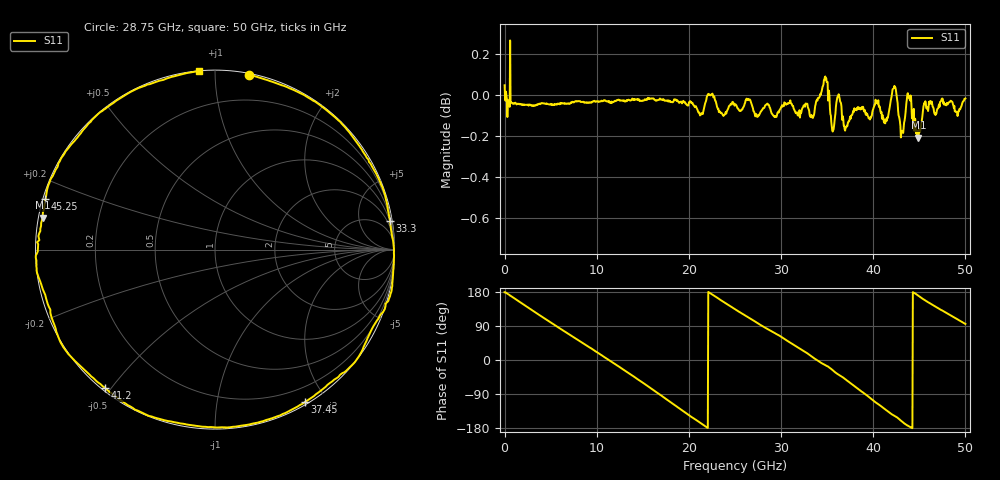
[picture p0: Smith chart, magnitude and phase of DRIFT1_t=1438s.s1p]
!Created with skrf (http://scikit-rf.org).
# Hz S RI R 50.0
!freq ReS11 ImS11
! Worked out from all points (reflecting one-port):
!   1001 points, 300 kHz to 50 GHz, reference 50 ohm
!   lowest |S11| = -0.2 dB at 44.9 GHz (marker M1), VSWR 83.15, Z = 0.606 + j4.57 ohm
!   phase of S11 starts at 179 deg and turns -804 deg over the sweep
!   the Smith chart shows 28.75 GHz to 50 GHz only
!   S11 on the Smith chart (normalised r, x): 28.75 GHz: 0.01, +1.22; 33.3 GHz: 1, +12; 37.45 GHz: 0.03, -1.75; 41.2 GHz: 0.01, -0.48; 45.25 GHz: 0.01, +0.15; 50 GHz: 0.00, +0.91
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300000  -1.005 0.0211
1.70029e9  -0.8802 0.4637
3.550279e9  -0.529 0.8418
6.250262e9  0.1833 0.9782
7.900253e9  0.5903 0.8026
9.750242e9  0.9039 0.4197
1.250022e10  0.9424 -0.3246
1.400022e10  0.7267 -0.6831
1.58502e10  0.2729 -0.9598
1.72502e10  -0.1412 -0.9874
1.875019e10  -0.5543 -0.8285
2.025018e10  -0.8607 -0.5012
2.195017e10  -0.9983 -0.0385
2.500015e10  -0.6922 0.7141
2.675014e10  -0.3067 0.9471
2.875013e10  0.1915 0.9743
3.125011e10  0.7399 0.6633
3.33001e10  0.9758 0.1592
3.505009e10  0.9654 -0.2867
3.745008e10  0.5002 -0.8506
3.750008e10  0.4871 -0.8594
3.930006e10  -0.0536 -0.9873
4.120005e10  -0.6131 -0.7701
4.375004e10  -0.994 -0.1166
4.490003e10  -0.96 0.1771
4.525003e10  -0.9444 0.2805
4.740002e10  -0.6638 0.7442
5e10  -0.0894 0.9939
